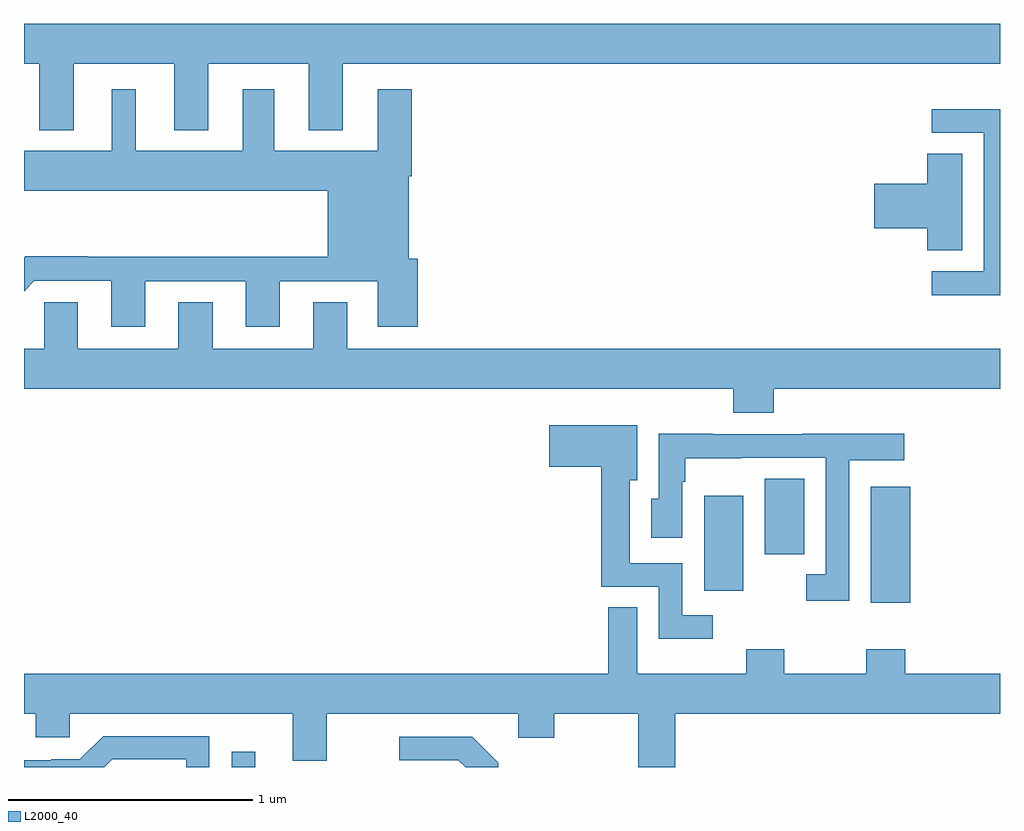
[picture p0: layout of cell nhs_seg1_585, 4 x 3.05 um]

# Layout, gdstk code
import gdstk
lib = gdstk.Library(unit=1e-6, precision=1e-09)
def R(c, l, rs):  # rectangles x0, y0, x1, y1
    for r in rs: c.add(gdstk.rectangle(r[:2], r[2:], *l))
def P(c, l, *ps):  # polygons
    for p in ps: c.add(gdstk.Polygon(p, *l))
L2000_40 = (2000, 40)

nhs_seg1_585 = lib.new_cell('nhs_seg1_585')
R(nhs_seg1_585, L2000_40, [(143.851,530.199,143.947,530.263), (146.471,530.874,146.632,531.349), (145.787,530.924,145.948,531.313), (146.036,531.072,146.197,531.383)])
P(nhs_seg1_585, L2000_40, [(143.203,533.084),(143.615,533.084),(143.615,532.811),(143.755,532.811),(143.755,533.084),(144.167,533.084),(144.167,532.811),(144.307,532.811),(144.307,533.084),(147,533.084),(147,533.248),(143,533.248),(143,533.084),(143.063,533.084),(143.063,532.811),(143.203,532.811)],
  [(143.497,532.191),(143.909,532.191),(143.909,532.005),(144.049,532.005),(144.049,532.191),(144.449,532.191),(144.449,532.005),(144.614,532.005),(144.614,532.284),(144.577,532.284),(144.577,532.622),(144.59,532.622),(144.59,532.978),(144.449,532.978),(144.449,532.726),(144.025,532.726),(144.025,532.978),(143.897,532.978),(143.897,532.726),(143.458,532.726),(143.458,532.978),(143.36,532.978),(143.36,532.726),(143,532.726),(143,532.562),(144.245,532.562),(144.245,532.292),(143.261,532.292),(143.261,532.295),(143.006,532.295),(143,532.289),(143,532.151),(143.043,532.194),(143.357,532.194),(143.357,532.005),(143.497,532.005)],
  [(147,532.896),(146.721,532.896),(146.721,532.8),(146.934,532.8),(146.934,532.233),(146.721,532.233),(146.721,532.135),(147,532.135)],
  [(146.845,532.715),(146.702,532.715),(146.702,532.592),(146.484,532.592),(146.484,532.409),(146.702,532.409),(146.702,532.318),(146.845,532.318)],
  [(146.072,531.752),(147,531.752),(147,531.916),(144.325,531.916),(144.325,532.106),(144.185,532.106),(144.185,531.916),(143.773,531.916),(143.773,532.106),(143.633,532.106),(143.633,531.916),(143.221,531.916),(143.221,532.106),(143.082,532.106),(143.082,531.916),(143,531.916),(143,531.752),(145.907,531.752),(145.907,531.653),(146.072,531.653)],
  [(145.822,530.823),(145.698,530.823),(145.698,531.036),(145.483,531.036),(145.483,531.377),(145.513,531.377),(145.513,531.601),(145.152,531.601),(145.152,531.431),(145.365,531.431),(145.365,530.94),(145.602,530.94),(145.602,530.726),(145.822,530.726)],
  [(146.382,531.458),(146.608,531.458),(146.608,531.566),(146.189,531.566),(146.189,531.564),(145.823,531.564),(145.823,531.566),(145.602,531.566),(145.602,531.3),(145.571,531.3),(145.571,531.141),(145.698,531.141),(145.698,531.371),(145.711,531.371),(145.711,531.467),(145.94,531.467),(145.94,531.468),(146.286,531.468),(146.286,530.991),(146.205,530.991),(146.205,530.883),(146.382,530.883)],
  [(145.67,530.42),(147,530.42),(147,530.584),(146.612,530.584),(146.612,530.683),(146.452,530.683),(146.452,530.584),(146.115,530.584),(146.115,530.683),(145.96,530.683),(145.96,530.584),(145.513,530.584),(145.513,530.855),(145.395,530.855),(145.395,530.584),(143,530.584),(143,530.42),(143.049,530.42),(143.049,530.322),(143.187,530.322),(143.187,530.42),(144.101,530.42),(144.101,530.226),(144.241,530.226),(144.241,530.42),(145.025,530.42),(145.025,530.321),(145.173,530.321),(145.173,530.42),(145.517,530.42),(145.517,530.199),(145.67,530.199)],
  [(143.361,530.232),(143.664,530.232),(143.664,530.199),(143.76,530.199),(143.76,530.328),(143.325,530.328),(143.229,530.232),(143.111,530.232),(143.111,530.229),(143,530.229),(143,530.199),(143.328,530.199)],
  [(144.943,530.219),(144.837,530.325),(144.537,530.325),(144.537,530.229),(144.78,530.229),(144.81,530.199),(144.943,530.199)])

lib.write_gds('nhs_seg1_585.gds')
